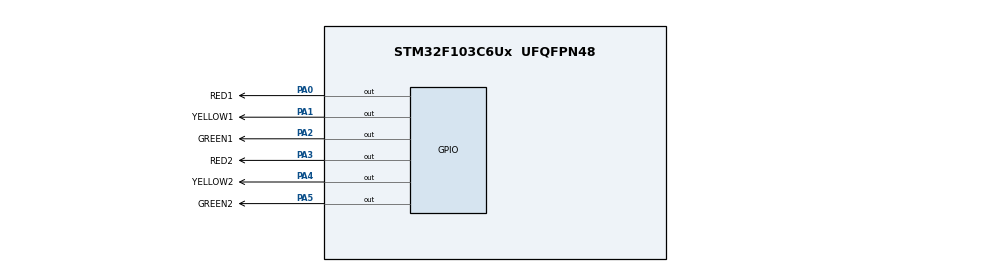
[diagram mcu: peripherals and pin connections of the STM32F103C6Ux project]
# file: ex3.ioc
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Mcu.Family=STM32F1
Mcu.Name=STM32F103C6Ux
Mcu.Package=UFQFPN48
NVIC.PriorityGroup=NVIC_PRIORITYGROUP_4
PA0-WKUP.GPIO_Label=RED1
PA0-WKUP.Signal=GPIO_Output
PA1.GPIO_Label=YELLOW1
PA1.Signal=GPIO_Output
PA2.GPIO_Label=GREEN1
PA2.Signal=GPIO_Output
PA3.GPIO_Label=RED2
PA3.Signal=GPIO_Output
PA4.GPIO_Label=YELLOW2
PA4.Signal=GPIO_Output
PA5.GPIO_Label=GREEN2
PA5.Signal=GPIO_Output
ProjectManager.HeapSize=0x200
ProjectManager.StackSize=0x400
ProjectManager.TargetToolchain=STM32CubeIDE
RCC.APB1Freq_Value=8000000
RCC.APB2Freq_Value=8000000
VP_SYS_VS_ND.Mode=No_Debug
board=custom

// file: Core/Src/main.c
/* USER CODE BEGIN Header */
/**
  ******************************************************************************
  * @file           : main.c
  * @brief          : Main program body
  ******************************************************************************
  * @attention
  *
  * <h2><center>&copy; Copyright (c) 2026 STMicroelectronics.
  * All rights reserved.</center></h2>
  *
  * This software component is licensed by ST under BSD 3-Clause license,
  * the "License"; You may not use this file except in compliance with the
  * License. You may obtain a copy of the License at:
  *                        opensource.org/licenses/BSD-3-Clause
  *
  ******************************************************************************
  */
/* USER CODE END Header */
#include "main.h"

void SystemClock_Config(void);
static void MX_GPIO_Init(void);

/* USER CODE BEGIN 0 */
/* Helper function to set Traffic Light Set 1 (e.g., North-South) */
void setLight1(GPIO_PinState r, GPIO_PinState y, GPIO_PinState g) {
    HAL_GPIO_WritePin(GPIOA, RED1_Pin, (GPIO_PinState)!r);
    HAL_GPIO_WritePin(GPIOA, YELLOW1_Pin, (GPIO_PinState)!y);
    HAL_GPIO_WritePin(GPIOA, GREEN1_Pin, (GPIO_PinState)!g);
}

/* Helper function to set Traffic Light Set 2 (e.g., East-West) */
void setLight2(GPIO_PinState r, GPIO_PinState y, GPIO_PinState g) {
    HAL_GPIO_WritePin(GPIOA, RED2_Pin, (GPIO_PinState)!r);
    HAL_GPIO_WritePin(GPIOA, YELLOW2_Pin, (GPIO_PinState)!y);
    HAL_GPIO_WritePin(GPIOA, GREEN2_Pin, (GPIO_PinState)!g);
}
/* USER CODE END 0 */

int main(void)
{

  /* MCU Configuration--------------------------------------------------------*/

  /* Reset of all peripherals, Initializes the Flash interface and the Systick. */
  HAL_Init();

  /* Configure the system clock */
  SystemClock_Config();

  /* Initialize all configured peripherals */
  MX_GPIO_Init();

  /* Infinite loop */
  /* USER CODE BEGIN WHILE */
  while (1)
  {
      /* Phase 1: Direction 1 GREEN, Direction 2 RED (5s) */
      setLight1(GPIO_PIN_RESET, GPIO_PIN_RESET, GPIO_PIN_SET);
      setLight2(GPIO_PIN_SET, GPIO_PIN_RESET, GPIO_PIN_RESET);
      HAL_Delay(5000);

      /* Phase 2: Direction 1 YELLOW, Direction 2 RED (2s) */
      setLight1(GPIO_PIN_RESET, GPIO_PIN_SET, GPIO_PIN_RESET);
      HAL_Delay(2000);

      /* Phase 3: Direction 1 RED, Direction 2 GREEN (5s) */
      setLight1(GPIO_PIN_SET, GPIO_PIN_RESET, GPIO_PIN_RESET);
      setLight2(GPIO_PIN_RESET, GPIO_PIN_RESET, GPIO_PIN_SET);
      HAL_Delay(5000);

      /* Phase 4: Direction 1 RED, Direction 2 YELLOW (2s) */
      setLight2(GPIO_PIN_RESET, GPIO_PIN_SET, GPIO_PIN_RESET);
      HAL_Delay(2000);
    /* USER CODE END WHILE */

  }
}

void SystemClock_Config(void)
{
  RCC_OscInitTypeDef RCC_OscInitStruct = {0};
  RCC_ClkInitTypeDef RCC_ClkInitStruct = {0};

  /** Initializes the RCC Oscillators according to the specified parameters
  * in the RCC_OscInitTypeDef structure.
  */
  RCC_OscInitStruct.OscillatorType = RCC_OSCILLATORTYPE_HSI;
  RCC_OscInitStruct.HSIState = RCC_HSI_ON;
  RCC_OscInitStruct.HSICalibrationValue = RCC_HSICALIBRATION_DEFAULT;
  RCC_OscInitStruct.PLL.PLLState = RCC_PLL_NONE;
  if (HAL_RCC_OscConfig(&RCC_OscInitStruct) != HAL_OK)
  {
    Error_Handler();
  }

  /** Initializes the CPU, AHB and APB buses clocks
  */
  RCC_ClkInitStruct.ClockType = RCC_CLOCKTYPE_HCLK|RCC_CLOCKTYPE_SYSCLK
                              |RCC_CLOCKTYPE_PCLK1|RCC_CLOCKTYPE_PCLK2;
  RCC_ClkInitStruct.SYSCLKSource = RCC_SYSCLKSOURCE_HSI;
  RCC_ClkInitStruct.AHBCLKDivider = RCC_SYSCLK_DIV1;
  RCC_ClkInitStruct.APB1CLKDivider = RCC_HCLK_DIV1;
  RCC_ClkInitStruct.APB2CLKDivider = RCC_HCLK_DIV1;

  if (HAL_RCC_ClockConfig(&RCC_ClkInitStruct, FLASH_LATENCY_0) != HAL_OK)
  {
    Error_Handler();
  }
}

static void MX_GPIO_Init(void)
{
  GPIO_InitTypeDef GPIO_InitStruct = {0};

  /* GPIO Ports Clock Enable */
  __HAL_RCC_GPIOA_CLK_ENABLE();

  /*Configure GPIO pin Output Level */
  HAL_GPIO_WritePin(GPIOA, RED1_Pin|YELLOW1_Pin|GREEN1_Pin|RED2_Pin
                          |YELLOW2_Pin|GREEN2_Pin, GPIO_PIN_RESET);

  /*Configure GPIO pins : RED1_Pin YELLOW1_Pin GREEN1_Pin RED2_Pin
                           YELLOW2_Pin GREEN2_Pin */
  GPIO_InitStruct.Pin = RED1_Pin|YELLOW1_Pin|GREEN1_Pin|RED2_Pin
                          |YELLOW2_Pin|GREEN2_Pin;
  GPIO_InitStruct.Mode = GPIO_MODE_OUTPUT_PP;
  GPIO_InitStruct.Pull = GPIO_NOPULL;
  GPIO_InitStruct.Speed = GPIO_SPEED_FREQ_LOW;
  HAL_GPIO_Init(GPIOA, &GPIO_InitStruct);
}

void Error_Handler(void)
{
  __disable_irq();
  while (1)
  {
  }
}
